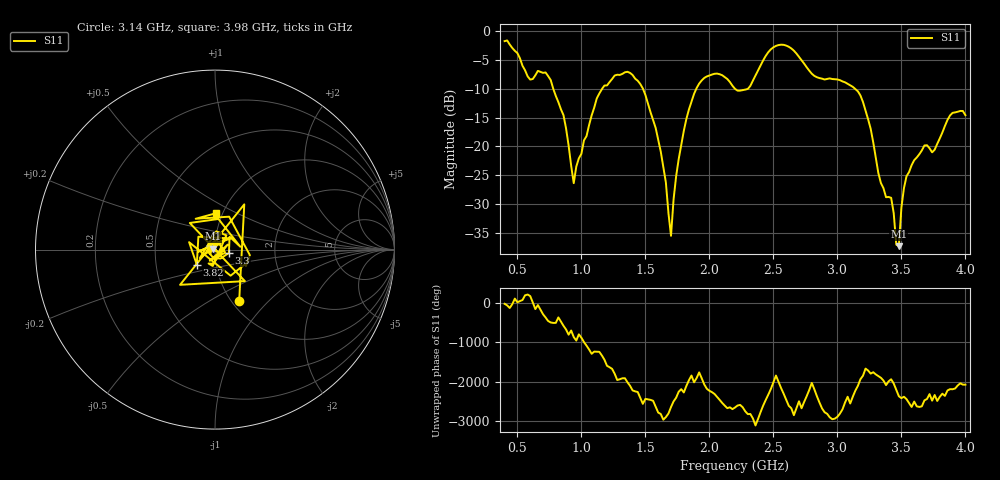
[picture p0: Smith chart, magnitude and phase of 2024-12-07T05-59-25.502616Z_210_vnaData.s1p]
!Created with skrf (http://scikit-rf.org).
# Hz S RI R 50.0
!freq ReS11 ImS11
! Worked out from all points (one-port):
!   181 points, 400 MHz to 4 GHz, reference 50 ohm
!   lowest |S11| = -37.3 dB at 3.48 GHz (marker M1), VSWR 1.03, Z = 48.8 + j0.527 ohm
!   |S11| at or under -10 dB: 780 MHz to 1.162 GHz (382.2 MHz wide, 39.4 % of centre); 1.481 GHz to 1.898 GHz (417.1 MHz wide, 24.7 % of centre); 3.138 GHz to end of sweep (the widest 3 of 4)
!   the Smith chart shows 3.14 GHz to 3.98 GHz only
!   S11 on the Smith chart (normalised r, x): 3.14 GHz: 1.09, -0.69; 3.3 GHz: 1.17, -0.04; 3.82 GHz: 0.81, -0.14; 3.98 GHz: 0.93, +0.39
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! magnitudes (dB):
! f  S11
! 400 MHz  -1.7
! 600 MHz  -8.4
! 720 MHz  -7.2
! 860 MHz  -14.6
! 940 MHz  -26.4
! 1.12 GHz  -11.7
! 1.3 GHz  -7.6
! 1.5 GHz  -11.1
! 1.62 GHz  -20.9
! 1.7 GHz  -35.5
! 1.76 GHz  -22.2
! 1.92 GHz  -9.1
! 2.2 GHz  -10.0
! 2.3 GHz  -10.0
! 2.5 GHz  -2.8
! 2.66 GHz  -3.4
! 3.1 GHz  -9.4
! 3.14 GHz  -10.0
! 3.22 GHz  -13.8
! 3.3 GHz  -22.0
! 3.42 GHz  -28.9
! 3.46 GHz  -37.1
! 3.48 GHz  -37.3
! 3.52 GHz  -27.3
! 3.56 GHz  -24.5
! 3.82 GHz  -17.6
! 3.98 GHz  -13.9
! 4 GHz  -14.6
